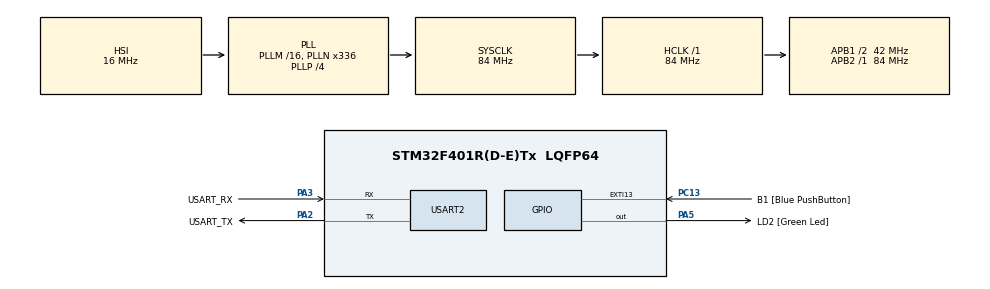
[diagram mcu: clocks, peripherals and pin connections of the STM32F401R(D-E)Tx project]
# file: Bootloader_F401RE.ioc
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Mcu.Family=STM32F4
PA2.GPIO_PuPd=GPIO_NOPULL
RCC.CortexFreq_Value=84000000
PC13-ANTI_TAMP.GPIO_PuPd=GPIO_NOPULL
PC13-ANTI_TAMP.GPIO_Label=B1 [Blue PushButton]
PA14.GPIO_Label=TCK
PA3.GPIO_PuPd=GPIO_NOPULL
PA2.GPIO_Speed=GPIO_SPEED_FREQ_LOW
RCC.APB1CLKDivider=RCC_HCLK_DIV2
PA3.GPIO_Speed=GPIO_SPEED_FREQ_LOW
RCC.SYSCLKSource=RCC_SYSCLKSOURCE_PLLCLK
ProjectManager.StackSize=0x400
PA13.Signal=SYS_JTMS-SWDIO
PA3.Mode=Asynchronous
ProjectManager.TargetToolchain=STM32CubeIDE
PA3.GPIO_Mode=GPIO_MODE_AF_PP
RCC.HCLKFreq_Value=84000000
RCC.APB2TimFreq_Value=84000000
RCC.AHBFreq_Value=84000000
PA5.Signal=GPIO_Output
RCC.HSE_VALUE=8000000
PB3.Mode=Trace_Asynchronous_SW
board=NUCLEO-F401RE
PC13-ANTI_TAMP.Signal=GPXTI13
RCC.VCOOutputFreq_Value=336000000
RCC.APB2Freq_Value=84000000
PA14.Mode=Trace_Asynchronous_SW
PA5.GPIO_PuPd=GPIO_NOPULL
PA13.Mode=Trace_Asynchronous_SW
Mcu.Name=STM32F401R(D-E)Tx
PA2.Signal=USART2_TX
PA13.GPIO_Label=TMS
RCC.48MHZClocksFreq_Value=48000000
PB3.Signal=SYS_JTDO-SWO
RCC.SYSCLKFreq_VALUE=84000000
Mcu.Package=LQFP64
PA5.GPIO_Label=LD2 [Green Led]
USART2.VirtualMode=VM_ASYNC
PC13-ANTI_TAMP.GPIO_ModeDefaultEXTI=GPIO_MODE_IT_FALLING
PA2.GPIO_Label=USART_TX
PA14.Signal=SYS_JTCK-SWCLK
ProjectManager.HeapSize=0x200
RCC.HSI_VALUE=16000000
RCC.PLLP=RCC_PLLP_DIV4
PA5.GPIO_Speed=GPIO_SPEED_FREQ_LOW
RCC.PLLQ=7
NVIC.PriorityGroup=NVIC_PRIORITYGROUP_0
RCC.PLLN=336
RCC.APB1TimFreq_Value=84000000
PA2.Mode=Asynchronous
RCC.APB1Freq_Value=42000000
PA5.GPIO_Mode=GPIO_MODE_OUTPUT_PP
PA3.GPIO_Label=USART_RX
PA3.Signal=USART2_RX
PA2.GPIO_Mode=GPIO_MODE_AF_PP
PB3.GPIO_Label=SWO

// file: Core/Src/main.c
/* USER CODE BEGIN Header */
/**
 ******************************************************************************
 * @file           : main.c
 * @brief          : Main program body
 ******************************************************************************
 * @attention
 *
 * <h2><center>&copy; Copyright (c) 2021 STMicroelectronics.
 * All rights reserved.</center></h2>
 *
 * This software component is licensed by ST under BSD 3-Clause license,
 * the "License"; You may not use this file except in compliance with the
 * License. You may obtain a copy of the License at:
 *                        opensource.org/licenses/BSD-3-Clause
 *
 ******************************************************************************
 */
/* USER CODE END Header */
#include "main.h"

/* USER CODE BEGIN Includes */
#include "uart.h"
/* USER CODE END Includes */

UART_HandleTypeDef huart2;

/* USER CODE BEGIN PV */
typedef void (application_t)(void);

typedef struct {
	uint32_t stack_addr;     // Stack Pointer
	application_t *func_p;        // Program Counter
} JumpStruct;
/* USER CODE END PV */

void SystemClock_Config(void);
static void MX_GPIO_Init(void);
static void MX_USART2_UART_Init(void);

int main(void) {

	/* MCU Configuration--------------------------------------------------------*/

	/* Reset of all peripherals, Initializes the Flash interface and the Systick. */
	HAL_Init();

	/* Configure the system clock */
	SystemClock_Config();

	/* Initialize all configured peripherals */
	MX_GPIO_Init();
	MX_USART2_UART_Init();
	/* USER CODE BEGIN 2 */
	GPIO_PinState button = HAL_GPIO_ReadPin(B1_GPIO_Port, B1_Pin);
	printMsg("Starting Bootloader\n");
	for (int i = 0; i < 10; i++) {
		HAL_GPIO_TogglePin(LD2_GPIO_Port, LD2_Pin);
		HAL_Delay(50);
	}
	const JumpStruct *vector_p = (JumpStruct*) APP_START;

	if (button == GPIO_PIN_RESET) {
		goto jumpApp;
	} else {
		goto err;
	}

	jumpApp:        //check if user code exists at app_start address
	if (((*(__IO uint32_t*) APP_START) & 0x2FFE0000) == 0x20000000) {
		printMsg("Jumping to application\n");
		HAL_GPIO_DeInit(B1_GPIO_Port, B1_Pin);
		HAL_GPIO_DeInit(LD2_GPIO_Port, LD2_Pin);
		HAL_UART_DeInit(&huart2);
		asm("msr msp, %0; bx %1;" : : "r"(vector_p->stack_addr), "r"(vector_p->func_p));
	} else {
		printMsg("Failed to jump: user application not found\n");
	}

	err: //start condition unmet, go into panic
	printMsg("Button Not held: entering panic state\n");

	/* USER CODE END 2 */

	/* Infinite loop */
	/* USER CODE BEGIN WHILE */
	MX_GPIO_Init();
	while (1) {
		/* USER CODE END WHILE */

		/* USER CODE BEGIN 3 */
		HAL_GPIO_TogglePin(LD2_GPIO_Port, LD2_Pin);
		HAL_Delay(40);
	}
	/* USER CODE END 3 */
}

void SystemClock_Config(void) {
	RCC_OscInitTypeDef RCC_OscInitStruct = { 0 };
	RCC_ClkInitTypeDef RCC_ClkInitStruct = { 0 };

	/** Configure the main internal regulator output voltage
	 */
	__HAL_RCC_PWR_CLK_ENABLE();
	__HAL_PWR_VOLTAGESCALING_CONFIG(PWR_REGULATOR_VOLTAGE_SCALE2);
	/** Initializes the RCC Oscillators according to the specified parameters
	 * in the RCC_OscInitTypeDef structure.
	 */
	RCC_OscInitStruct.OscillatorType = RCC_OSCILLATORTYPE_HSI;
	RCC_OscInitStruct.HSIState = RCC_HSI_ON;
	RCC_OscInitStruct.HSICalibrationValue = RCC_HSICALIBRATION_DEFAULT;
	RCC_OscInitStruct.PLL.PLLState = RCC_PLL_ON;
	RCC_OscInitStruct.PLL.PLLSource = RCC_PLLSOURCE_HSI;
	RCC_OscInitStruct.PLL.PLLM = 16;
	RCC_OscInitStruct.PLL.PLLN = 336;
	RCC_OscInitStruct.PLL.PLLP = RCC_PLLP_DIV4;
	RCC_OscInitStruct.PLL.PLLQ = 7;
	if (HAL_RCC_OscConfig(&RCC_OscInitStruct) != HAL_OK) {
		Error_Handler();
	}
	/** Initializes the CPU, AHB and APB buses clocks
	 */
	RCC_ClkInitStruct.ClockType = RCC_CLOCKTYPE_HCLK | RCC_CLOCKTYPE_SYSCLK
			| RCC_CLOCKTYPE_PCLK1 | RCC_CLOCKTYPE_PCLK2;
	RCC_ClkInitStruct.SYSCLKSource = RCC_SYSCLKSOURCE_PLLCLK;
	RCC_ClkInitStruct.AHBCLKDivider = RCC_SYSCLK_DIV1;
	RCC_ClkInitStruct.APB1CLKDivider = RCC_HCLK_DIV2;
	RCC_ClkInitStruct.APB2CLKDivider = RCC_HCLK_DIV1;

	if (HAL_RCC_ClockConfig(&RCC_ClkInitStruct, FLASH_LATENCY_2) != HAL_OK) {
		Error_Handler();
	}
}

static void MX_USART2_UART_Init(void) {

	huart2.Instance = USART2;
	huart2.Init.BaudRate = 115200;
	huart2.Init.WordLength = UART_WORDLENGTH_8B;
	huart2.Init.StopBits = UART_STOPBITS_1;
	huart2.Init.Parity = UART_PARITY_NONE;
	huart2.Init.Mode = UART_MODE_TX_RX;
	huart2.Init.HwFlowCtl = UART_HWCONTROL_NONE;
	huart2.Init.OverSampling = UART_OVERSAMPLING_16;
	if (HAL_UART_Init(&huart2) != HAL_OK) {
		Error_Handler();
	}

}

static void MX_GPIO_Init(void) {
	GPIO_InitTypeDef GPIO_InitStruct = { 0 };

	/* GPIO Ports Clock Enable */
	__HAL_RCC_GPIOC_CLK_ENABLE();
	__HAL_RCC_GPIOA_CLK_ENABLE();
	__HAL_RCC_GPIOB_CLK_ENABLE();

	/*Configure GPIO pin Output Level */
	HAL_GPIO_WritePin(LD2_GPIO_Port, LD2_Pin, GPIO_PIN_RESET);

	/*Configure GPIO pin : B1_Pin */
	GPIO_InitStruct.Pin = B1_Pin;
	GPIO_InitStruct.Mode = GPIO_MODE_IT_FALLING;
	GPIO_InitStruct.Pull = GPIO_NOPULL;
	HAL_GPIO_Init(B1_GPIO_Port, &GPIO_InitStruct);

	/*Configure GPIO pin : LD2_Pin */
	GPIO_InitStruct.Pin = LD2_Pin;
	GPIO_InitStruct.Mode = GPIO_MODE_OUTPUT_PP;
	GPIO_InitStruct.Pull = GPIO_NOPULL;
	GPIO_InitStruct.Speed = GPIO_SPEED_FREQ_LOW;
	HAL_GPIO_Init(LD2_GPIO_Port, &GPIO_InitStruct);

}

void Error_Handler(void) {
	__disable_irq();
	while (1) {
	}
}

/************************ (C) COPYRIGHT STMicroelectronics *****END OF FILE****/
